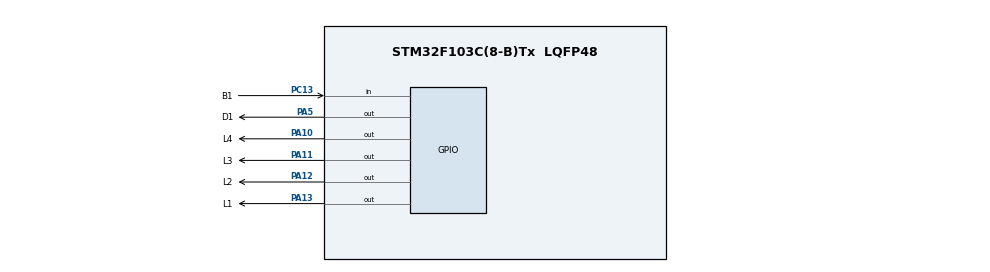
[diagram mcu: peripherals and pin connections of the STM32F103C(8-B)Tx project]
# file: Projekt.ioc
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Mcu.Family=STM32F1
Mcu.Name=STM32F103C(8-B)Tx
Mcu.Package=LQFP48
NVIC.PriorityGroup=NVIC_PRIORITYGROUP_4
PA10.GPIO_Label=L4
PA10.Signal=GPIO_Output
PA11.GPIO_Label=L3
PA11.Signal=GPIO_Output
PA12.GPIO_Label=L2
PA12.Signal=GPIO_Output
PA13.GPIO_Label=L1
PA13.Signal=GPIO_Output
PA5.GPIO_Label=D1
PA5.Signal=GPIO_Output
PC13-TAMPER-RTC.GPIO_Label=B1
PC13-TAMPER-RTC.Signal=GPIO_Input
ProjectManager.HeapSize=0x200
ProjectManager.StackSize=0x400
ProjectManager.TargetToolchain=MDK-ARM V4
RCC.APB1Freq_Value=8000000
RCC.APB2Freq_Value=8000000
VP_SYS_VS_ND.Mode=No_Debug
VP_TIM1_VS_ClockSourceINT.Mode=Internal
board=custom

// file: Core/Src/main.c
/* USER CODE BEGIN Header */
/**
  ******************************************************************************
  * @file           : main.c
  * @brief          : Main program body
  ******************************************************************************
  * @attention
  *
  * <h2><center>&copy; Copyright (c) 2021 STMicroelectronics.
  * All rights reserved.</center></h2>
  *
  * This software component is licensed by ST under BSD 3-Clause license,
  * the "License"; You may not use this file except in compliance with the
  * License. You may obtain a copy of the License at:
  *                        opensource.org/licenses/BSD-3-Clause
  *
  ******************************************************************************
  */
/* USER CODE END Header */
#include "main.h"
#include "tim.h"
#include "gpio.h"

/* USER CODE BEGIN PV */
uint8_t button_val = 0;
int zmienna = 0;
int nowVal;
int prevVal = 0;
/* USER CODE END PV */

void SystemClock_Config(void);

int main(void)
{

  /* MCU Configuration--------------------------------------------------------*/

  /* Reset of all peripherals, Initializes the Flash interface and the Systick. */
  HAL_Init();

  /* Configure the system clock */
  SystemClock_Config();

  /* Initialize all configured peripherals */
  MX_GPIO_Init();
  MX_TIM1_Init();

  /* Infinite loop */
  while (1)
  {

    /* USER CODE BEGIN 3 */
		if(zmienna == 15)
			zmienna = 0;

		button_val = HAL_GPIO_ReadPin(B1_GPIO_Port, B1_Pin);
		if(button_val == 0)
		{
			HAL_GPIO_WritePin(D1_GPIO_Port, D1_Pin, GPIO_PIN_SET);
			if(prevVal != nowVal)
				zmienna++;
			nowVal = HAL_GPIO_ReadPin(B1_GPIO_Port, B1_Pin);
		}
		else
		{
			HAL_GPIO_WritePin(D1_GPIO_Port, D1_Pin, GPIO_PIN_RESET);
			prevVal = 0;
		}

		//ustawieD diod

	if(zmienna==0)
	{
		HAL_GPIO_WritePin(L1_GPIO_Port, L1_Pin, GPIO_PIN_RESET);
		HAL_GPIO_WritePin(L2_GPIO_Port, L2_Pin, GPIO_PIN_RESET);
		HAL_GPIO_WritePin(L3_GPIO_Port, L3_Pin, GPIO_PIN_RESET);
		HAL_GPIO_WritePin(L4_GPIO_Port, L4_Pin, GPIO_PIN_RESET);
	}

	if(zmienna==1)
	{
		HAL_GPIO_WritePin(L1_GPIO_Port, L1_Pin, GPIO_PIN_SET);
		HAL_GPIO_WritePin(L2_GPIO_Port, L2_Pin, GPIO_PIN_RESET);
		HAL_GPIO_WritePin(L3_GPIO_Port, L3_Pin, GPIO_PIN_RESET);
		HAL_GPIO_WritePin(L4_GPIO_Port, L4_Pin, GPIO_PIN_RESET);
	}

	if(zmienna==2)
	{
		HAL_GPIO_WritePin(L1_GPIO_Port, L1_Pin, GPIO_PIN_RESET);
		HAL_GPIO_WritePin(L2_GPIO_Port, L2_Pin, GPIO_PIN_SET);
		HAL_GPIO_WritePin(L3_GPIO_Port, L3_Pin, GPIO_PIN_RESET);
		HAL_GPIO_WritePin(L4_GPIO_Port, L4_Pin, GPIO_PIN_RESET);
	}

	if(zmienna==3)
	{
		HAL_GPIO_WritePin(L1_GPIO_Port, L1_Pin, GPIO_PIN_SET);
		HAL_GPIO_WritePin(L2_GPIO_Port, L2_Pin, GPIO_PIN_SET);
		HAL_GPIO_WritePin(L3_GPIO_Port, L3_Pin, GPIO_PIN_RESET);
		HAL_GPIO_WritePin(L4_GPIO_Port, L4_Pin, GPIO_PIN_RESET);
	}

	if(zmienna==4)
	{
		HAL_GPIO_WritePin(L1_GPIO_Port, L1_Pin, GPIO_PIN_RESET);
		HAL_GPIO_WritePin(L2_GPIO_Port, L2_Pin, GPIO_PIN_RESET);
		HAL_GPIO_WritePin(L3_GPIO_Port, L3_Pin, GPIO_PIN_SET);
		HAL_GPIO_WritePin(L4_GPIO_Port, L4_Pin, GPIO_PIN_RESET);
	}

	if(zmienna==5)
	{
		HAL_GPIO_WritePin(L1_GPIO_Port, L1_Pin, GPIO_PIN_SET);
		HAL_GPIO_WritePin(L2_GPIO_Port, L2_Pin, GPIO_PIN_RESET);
		HAL_GPIO_WritePin(L3_GPIO_Port, L3_Pin, GPIO_PIN_SET);
		HAL_GPIO_WritePin(L4_GPIO_Port, L4_Pin, GPIO_PIN_RESET);
	}

	if(zmienna==6)
	{
		HAL_GPIO_WritePin(L1_GPIO_Port, L1_Pin, GPIO_PIN_RESET);
		HAL_GPIO_WritePin(L2_GPIO_Port, L2_Pin, GPIO_PIN_SET);
		HAL_GPIO_WritePin(L3_GPIO_Port, L3_Pin, GPIO_PIN_SET);
		HAL_GPIO_WritePin(L4_GPIO_Port, L4_Pin, GPIO_PIN_RESET);
	}

	if(zmienna==7)
	{
		HAL_GPIO_WritePin(L1_GPIO_Port, L1_Pin, GPIO_PIN_SET);
		HAL_GPIO_WritePin(L2_GPIO_Port, L2_Pin, GPIO_PIN_SET);
		HAL_GPIO_WritePin(L3_GPIO_Port, L3_Pin, GPIO_PIN_SET);
		HAL_GPIO_WritePin(L4_GPIO_Port, L4_Pin, GPIO_PIN_RESET);
	}

	if(zmienna==8)
	{
		HAL_GPIO_WritePin(L1_GPIO_Port, L1_Pin, GPIO_PIN_RESET);
		HAL_GPIO_WritePin(L2_GPIO_Port, L2_Pin, GPIO_PIN_RESET);
		HAL_GPIO_WritePin(L3_GPIO_Port, L3_Pin, GPIO_PIN_RESET);
		HAL_GPIO_WritePin(L4_GPIO_Port, L4_Pin, GPIO_PIN_SET);
	}

	if(zmienna==9)
	{
		HAL_GPIO_WritePin(L1_GPIO_Port, L1_Pin, GPIO_PIN_SET);
		HAL_GPIO_WritePin(L2_GPIO_Port, L2_Pin, GPIO_PIN_RESET);
		HAL_GPIO_WritePin(L3_GPIO_Port, L3_Pin, GPIO_PIN_RESET);
		HAL_GPIO_WritePin(L4_GPIO_Port, L4_Pin, GPIO_PIN_SET);
	}

	if(zmienna==10)
	{
		HAL_GPIO_WritePin(L1_GPIO_Port, L1_Pin, GPIO_PIN_RESET);
		HAL_GPIO_WritePin(L2_GPIO_Port, L2_Pin, GPIO_PIN_SET);
		HAL_GPIO_WritePin(L3_GPIO_Port, L3_Pin, GPIO_PIN_RESET);
		HAL_GPIO_WritePin(L4_GPIO_Port, L4_Pin, GPIO_PIN_SET);
	}

	if(zmienna==11)
	{
		HAL_GPIO_WritePin(L1_GPIO_Port, L1_Pin, GPIO_PIN_SET);
		HAL_GPIO_WritePin(L2_GPIO_Port, L2_Pin, GPIO_PIN_SET);
		HAL_GPIO_WritePin(L3_GPIO_Port, L3_Pin, GPIO_PIN_RESET);
		HAL_GPIO_WritePin(L4_GPIO_Port, L4_Pin, GPIO_PIN_SET);
	}

	if(zmienna==12)
	{
		HAL_GPIO_WritePin(L1_GPIO_Port, L1_Pin, GPIO_PIN_RESET);
		HAL_GPIO_WritePin(L2_GPIO_Port, L2_Pin, GPIO_PIN_RESET);
		HAL_GPIO_WritePin(L3_GPIO_Port, L3_Pin, GPIO_PIN_SET);
		HAL_GPIO_WritePin(L4_GPIO_Port, L4_Pin, GPIO_PIN_SET);
	}

	if(zmienna==13)
	{
		HAL_GPIO_WritePin(L1_GPIO_Port, L1_Pin, GPIO_PIN_SET);
		HAL_GPIO_WritePin(L2_GPIO_Port, L2_Pin, GPIO_PIN_RESET);
		HAL_GPIO_WritePin(L3_GPIO_Port, L3_Pin, GPIO_PIN_SET);
		HAL_GPIO_WritePin(L4_GPIO_Port, L4_Pin, GPIO_PIN_SET);
	}

	if(zmienna==14)
	{
		HAL_GPIO_WritePin(L1_GPIO_Port, L1_Pin, GPIO_PIN_RESET);
		HAL_GPIO_WritePin(L2_GPIO_Port, L2_Pin, GPIO_PIN_SET);
		HAL_GPIO_WritePin(L3_GPIO_Port, L3_Pin, GPIO_PIN_SET);
		HAL_GPIO_WritePin(L4_GPIO_Port, L4_Pin, GPIO_PIN_SET);
	}

	if(zmienna==15)
	{
		HAL_GPIO_WritePin(L1_GPIO_Port, L1_Pin, GPIO_PIN_SET);
		HAL_GPIO_WritePin(L2_GPIO_Port, L2_Pin, GPIO_PIN_SET);
		HAL_GPIO_WritePin(L3_GPIO_Port, L3_Pin, GPIO_PIN_SET);
		HAL_GPIO_WritePin(L4_GPIO_Port, L4_Pin, GPIO_PIN_SET);
	}

	if(zmienna==16)
	{
		HAL_GPIO_WritePin(L1_GPIO_Port, L1_Pin, GPIO_PIN_RESET);
		HAL_GPIO_WritePin(L2_GPIO_Port, L2_Pin, GPIO_PIN_RESET);
		HAL_GPIO_WritePin(L3_GPIO_Port, L3_Pin, GPIO_PIN_RESET);
		HAL_GPIO_WritePin(L4_GPIO_Port, L4_Pin, GPIO_PIN_RESET);
	}

		}
  /* USER CODE END 3 */
}

void SystemClock_Config(void)
{
  RCC_OscInitTypeDef RCC_OscInitStruct = {0};
  RCC_ClkInitTypeDef RCC_ClkInitStruct = {0};

  /** Initializes the RCC Oscillators according to the specified parameters
  * in the RCC_OscInitTypeDef structure.
  */
  RCC_OscInitStruct.OscillatorType = RCC_OSCILLATORTYPE_HSI;
  RCC_OscInitStruct.HSIState = RCC_HSI_ON;
  RCC_OscInitStruct.HSICalibrationValue = RCC_HSICALIBRATION_DEFAULT;
  RCC_OscInitStruct.PLL.PLLState = RCC_PLL_NONE;
  if (HAL_RCC_OscConfig(&RCC_OscInitStruct) != HAL_OK)
  {
    Error_Handler();
  }
  /** Initializes the CPU, AHB and APB buses clocks
  */
  RCC_ClkInitStruct.ClockType = RCC_CLOCKTYPE_HCLK|RCC_CLOCKTYPE_SYSCLK
                              |RCC_CLOCKTYPE_PCLK1|RCC_CLOCKTYPE_PCLK2;
  RCC_ClkInitStruct.SYSCLKSource = RCC_SYSCLKSOURCE_HSI;
  RCC_ClkInitStruct.AHBCLKDivider = RCC_SYSCLK_DIV1;
  RCC_ClkInitStruct.APB1CLKDivider = RCC_HCLK_DIV1;
  RCC_ClkInitStruct.APB2CLKDivider = RCC_HCLK_DIV1;

  if (HAL_RCC_ClockConfig(&RCC_ClkInitStruct, FLASH_LATENCY_0) != HAL_OK)
  {
    Error_Handler();
  }
}

void Error_Handler(void)
{
  __disable_irq();
  while (1)
  {
  }
}

/************************ (C) COPYRIGHT STMicroelectronics *****END OF FILE****/
